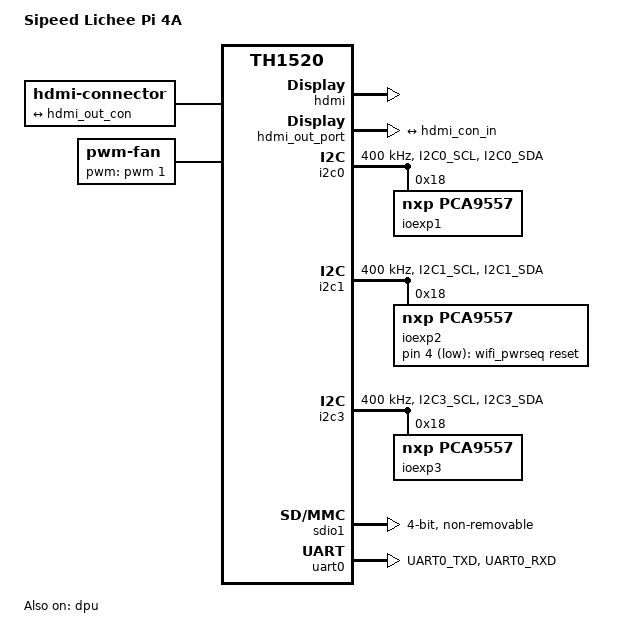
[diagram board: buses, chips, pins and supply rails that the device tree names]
// SPDX-License-Identifier: (GPL-2.0 OR MIT)
/*
 * Copyright (C) 2023 Jisheng Zhang <jszhang@kernel.org>
 */

#include "th1520-lichee-module-4a.dtsi"
#include <dt-bindings/gpio/gpio.h>

/ {
	model = "Sipeed Lichee Pi 4A";
	compatible = "sipeed,lichee-pi-4a", "sipeed,lichee-module-4a", "thead,th1520";

	aliases {
		gpio0 = &gpio0;
		gpio1 = &gpio1;
		gpio2 = &gpio2;
		gpio3 = &gpio3;
		gpio4 = &gpio4;
		gpio5 = &aogpio;
		serial0 = &uart0;
		serial1 = &uart1;
		serial2 = &uart2;
		serial3 = &uart3;
		serial4 = &uart4;
		serial5 = &uart5;
		spi0 = &spi0;
	};

	chosen {
		stdout-path = "serial0:115200n8";
	};

	hdmi-connector {
		compatible = "hdmi-connector";
		type = "a";

		port {
			hdmi_con_in: endpoint {
				remote-endpoint = <&hdmi_out_con>;
			};
		};
	};

	wifi_pwrseq: wifi-pwrseq {
		compatible = "mmc-pwrseq-simple";
		reset-gpios = <&ioexp2 4 GPIO_ACTIVE_LOW>;
		post-power-on-delay-ms = <200>;
	};

	thermal-zones {
		cpu-thermal {
			polling-delay = <1000>;
			polling-delay-passive = <1000>;
			thermal-sensors = <&pvt 0>;

			trips {
				fan_config0: fan-trip0 {
					temperature = <39000>;
					hysteresis = <5000>;
					type = "active";
				};

				fan_config1: fan-trip1 {
					temperature = <50000>;
					hysteresis = <5000>;
					type = "active";
				};

				fan_config2: fan-trip2 {
					temperature = <60000>;
					hysteresis = <5000>;
					type = "active";
				};
			};

			cooling-maps {
				map-active-0 {
					cooling-device = <&fan 1 1>;
					trip = <&fan_config0>;
				};

				map-active-1 {
					cooling-device = <&fan 2 2>;
					trip = <&fan_config1>;
				};

				map-active-2 {
					cooling-device = <&fan 3 3>;
					trip = <&fan_config2>;
				};
			};
		};
	};

	fan: pwm-fan {
		pinctrl-names = "default";
		pinctrl-0 = <&fan_pins>;
		compatible = "pwm-fan";
		#cooling-cells = <2>;
		pwms = <&pwm 1 10000000 0>;
		cooling-levels = <0 66 196 255>;
	};

};

&dpu {
	status = "okay";
};

&hdmi {
	status = "okay";
};

&hdmi_out_port {
	hdmi_out_con: endpoint {
		remote-endpoint = <&hdmi_con_in>;
	};
};

&i2c0 {
	clock-frequency = <400000>;
	pinctrl-names = "default";
	pinctrl-0 = <&i2c0_pins>;
	status = "okay";

	ioexp1: gpio@18 {
		compatible = "nxp,pca9557";
		reg = <0x18>;
		gpio-controller;
		#gpio-cells = <2>;
		gpio-line-names = "cam0_dvdd12",
				  "cam0_avdd28",
				  "cam0_dovdd18";
	};
};

&i2c1 {
	clock-frequency = <400000>;
	pinctrl-names = "default";
	pinctrl-0 = <&i2c1_pins>;
	status = "okay";

	ioexp2: gpio@18 {
		compatible = "nxp,pca9557";
		reg = <0x18>;
		gpio-controller;
		#gpio-cells = <2>;
		gpio-line-names = "",
				  "cam0_reset",
				  "cam1_reset",
				  "cam2_reset",
				  "wl_host_wake_dev",
				  "bt_resetn",
				  "",
				  "bt_host_wake_dev";
	};
};

&i2c3 {
	clock-frequency = <400000>;
	pinctrl-names = "default";
	pinctrl-0 = <&i2c3_pins>;
	status = "okay";

	ioexp3: gpio@18 {
		compatible = "nxp,pca9557";
		reg = <0x18>;
		gpio-controller;
		#gpio-cells = <2>;
		gpio-line-names = "tp0_rst",
				  "",
				  "",
				  "vcc5v_usb",
				  "vdd28_tp0",
				  "vdd33_lcd0",
				  "vdd18_lcd0",
				  "lcd0_reset";
	};
};

&padctrl0_apsys {
	fan_pins: fan-0 {
		pwm1-pins {
			pins = "GPIO3_3"; /* PWM1 */
			function = "pwm";
			bias-disable;
			drive-strength = <25>;
			input-disable;
			input-schmitt-disable;
			slew-rate = <0>;
		};
	};

	i2c3_pins: i2c3-0 {
		i2c-pins {
			pins = "I2C3_SCL", "I2C3_SDA";
			function = "i2c";
			bias-pull-up = <2100>;
			drive-strength = <7>;
			input-enable;
			input-schmitt-enable;
			slew-rate = <0>;
		};
	};

	uart0_pins: uart0-0 {
		tx-pins {
			pins = "UART0_TXD";
			function = "uart";
			bias-disable;
			drive-strength = <3>;
			input-disable;
			input-schmitt-disable;
			slew-rate = <0>;
		};

		rx-pins {
			pins = "UART0_RXD";
			function = "uart";
			bias-disable;
			drive-strength = <1>;
			input-enable;
			input-schmitt-enable;
			slew-rate = <0>;
		};
	};
};

&padctrl1_apsys {
	i2c0_pins: i2c0-0 {
		i2c-pins {
			pins = "I2C0_SCL", "I2C0_SDA";
			function = "i2c";
			bias-pull-up = <2100>;
			drive-strength = <7>;
			input-enable;
			input-schmitt-enable;
			slew-rate = <0>;
		};
	};

	i2c1_pins: i2c1-0 {
		i2c-pins {
			pins = "I2C1_SCL", "I2C1_SDA";
			function = "i2c";
			bias-pull-up = <2100>;
			drive-strength = <7>;
			input-enable;
			input-schmitt-enable;
			slew-rate = <0>;
		};
	};
};

&sdio1 {
	#address-cells = <1>;
	#size-cells = <0>;
	bus-width = <4>;
	max-frequency = <198000000>;
	cap-sdio-irq;
	keep-power-in-suspend;
	mmc-pwrseq = <&wifi_pwrseq>;
	non-removable;
	status = "okay";
};

&uart0 {
	pinctrl-names = "default";
	pinctrl-0 = <&uart0_pins>;
	status = "okay";
};
